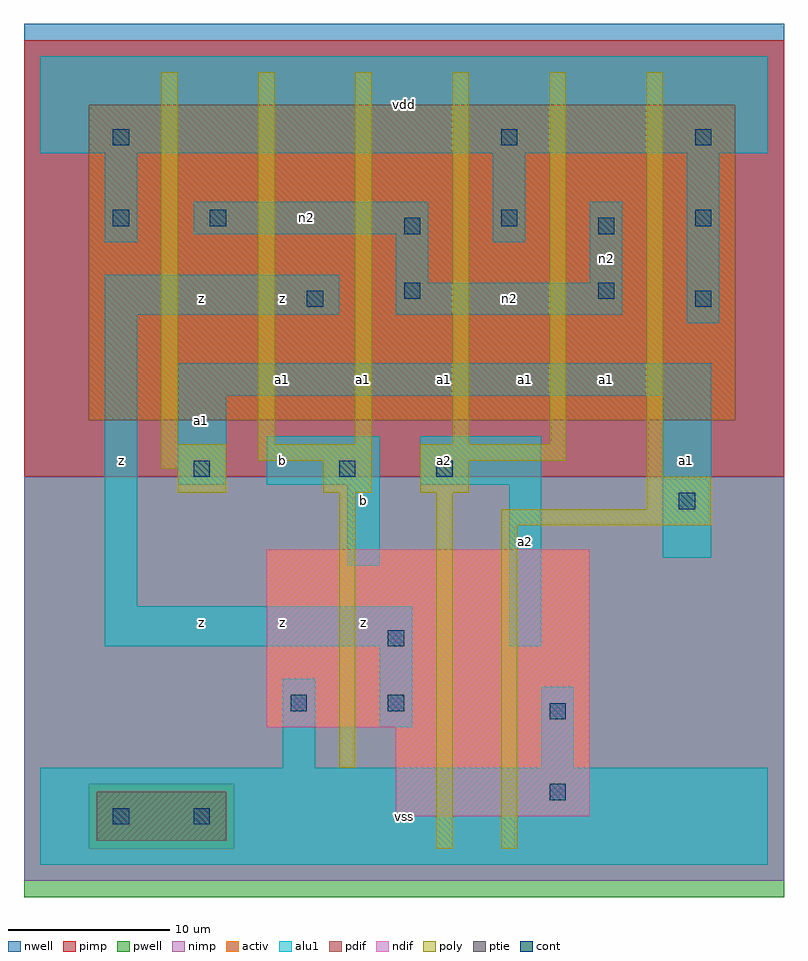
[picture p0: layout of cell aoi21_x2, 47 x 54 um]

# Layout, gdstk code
import gdstk
lib = gdstk.Library(unit=1e-6, precision=1e-09)
def R(c, l, rs):  # rectangles x0, y0, x1, y1
    for r in rs: c.add(gdstk.rectangle(r[:2], r[2:], *l))
def A(c, l, x, y, w, h, nx, ny, dx, dy):  # array of equal rectangles
    R(c, l, [(x+i*dx, y+j*dy, x+i*dx+w, y+j*dy+h) for i in range(nx) for j in range(ny)])
ndif = (3, 0)
pdif = (4, 0)
ptie = (6, 0)
cont = (25, 0)
pwell = (41, 0)
nwell = (42, 0)
activ = (43, 0)
pimp = (44, 0)
nimp = (45, 0)
poly = (46, 0)
alu1 = (49, 0)

aoi21_x2 = lib.new_cell('aoi21_x2')
R(aoi21_x2, ndif, [(22,3,34,8.5), (14,8.5,34,19.5)])
R(aoi21_x2, pdif, [(3,27.5,43,47)])
R(aoi21_x2, ptie, [(3.5,1.5,11.5,4.5)])
A(aoi21_x2, cont, 40.5, 34.5, 1, 1, 1, 3, 0, 5)
R(aoi21_x2, cont, [(4.5,2.5,5.5,3.5), (9.5,2.5,10.5,3.5), (31.5,4,32.5,5), (31.5,9,32.5,10), (15.5,9.5,16.5,10.5), (21.5,9.5,22.5,10.5), (21.5,13.5,22.5,14.5), (39.5,22,40.5,23), (9.5,24,10.5,25), (18.5,24,19.5,25), (24.5,24,25.5,25), (16.5,34.5,17.5,35.5), (22.5,35,23.5,36), (34.5,35,35.5,36), (22.5,39,23.5,40), (34.5,39,35.5,40), (4.5,39.5,5.5,40.5), (10.5,39.5,11.5,40.5), (28.5,39.5,29.5,40.5), (4.5,44.5,5.5,45.5), (28.5,44.5,29.5,45.5)])
R(aoi21_x2, pwell, [(-1,-2,46,24)])
R(aoi21_x2, nwell, [(-1,24,46,52)])
R(aoi21_x2, activ, [(3.5,1.5,11.5,4.5), (22,3,34,8.5), (14,8.5,34,19.5), (3,27.5,43,47)])
R(aoi21_x2, pimp, [(3,1,12,5), (-1,24,46,51)])
R(aoi21_x2, nimp, [(-1,-1,46,1), (-1,1,3,5), (12,1,46,5), (-1,5,46,24)])
A(aoi21_x2, poly, 7.5, 26, 1, 23, 5, 1, 6, 0)
R(aoi21_x2, poly, [(24.5,1,25.5,23), (28.5,1,29.5,21), (18.5,6,19.5,23), (28.5,21,41.5,22), (37.5,22,41.5,24), (8.5,23,11.5,24.5), (17.5,23,20.5,25), (23.5,23,26.5,25), (37.5,24,38.5,49), (7.5,24.5,11.5,26), (13.5,25,20.5,26), (23.5,25,32.5,26)])
R(aoi21_x2, alu1, [(0,0,45,6), (15,6,17,11.5), (31,6,33,11), (21,8.5,23,13.5), (4,13.5,23,16), (29,13.5,31,23.5), (4,16,6,34), (19,18.5,21,23.5), (38.5,19,41.5,29), (8.5,23.5,11.5,29), (14,23.5,21,26.5), (23.5,23.5,31,26.5), (8.5,29,41.5,31), (40,33.5,42,44), (4,34,18.5,36.5), (22,34,36,36), (22,36,24,39), (34,36,36,41), (4,38.5,6,44), (28,38.5,30,44), (9.5,39,24,41), (0,44,45,50)])
aoi21_x2.add(gdstk.Label('z', (5,25), layer=49, texttype=0))
aoi21_x2.add(gdstk.Label('z', (10,15), layer=49, texttype=0))
aoi21_x2.add(gdstk.Label('z', (15,15), layer=49, texttype=0))
aoi21_x2.add(gdstk.Label('a1', (10,27.5), layer=49, texttype=0))
aoi21_x2.add(gdstk.Label('b', (15,25), layer=49, texttype=0))
aoi21_x2.add(gdstk.Label('a1', (15,30), layer=49, texttype=0))
aoi21_x2.add(gdstk.Label('z', (10,35), layer=49, texttype=0))
aoi21_x2.add(gdstk.Label('z', (15,35), layer=49, texttype=0))
aoi21_x2.add(gdstk.Label('vss', (22.5,3), layer=49, texttype=0))
aoi21_x2.add(gdstk.Label('z', (20,15), layer=49, texttype=0))
aoi21_x2.add(gdstk.Label('a2', (25,25), layer=49, texttype=0))
aoi21_x2.add(gdstk.Label('b', (20,22.5), layer=49, texttype=0))
aoi21_x2.add(gdstk.Label('a1', (20,30), layer=49, texttype=0))
aoi21_x2.add(gdstk.Label('a1', (25,30), layer=49, texttype=0))
aoi21_x2.add(gdstk.Label('n2', (16.5,40), layer=49, texttype=0))
aoi21_x2.add(gdstk.Label('vdd', (22.5,47), layer=49, texttype=0))
aoi21_x2.add(gdstk.Label('a2', (30,20), layer=49, texttype=0))
aoi21_x2.add(gdstk.Label('a1', (30,30), layer=49, texttype=0))
aoi21_x2.add(gdstk.Label('a1', (35,30), layer=49, texttype=0))
aoi21_x2.add(gdstk.Label('n2', (29,35), layer=49, texttype=0))
aoi21_x2.add(gdstk.Label('n2', (35,37.5), layer=49, texttype=0))
aoi21_x2.add(gdstk.Label('a1', (40,25), layer=49, texttype=0))

lib.write_gds('aoi21_x2.gds')
